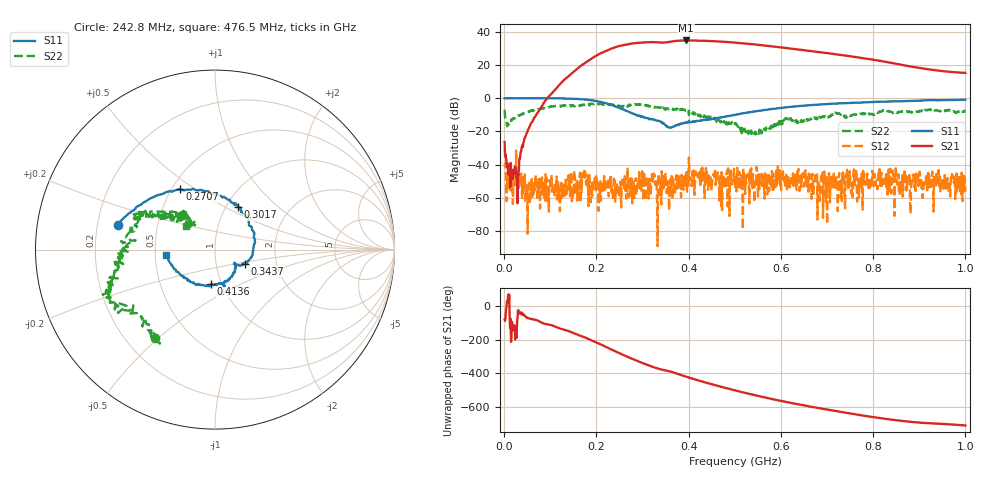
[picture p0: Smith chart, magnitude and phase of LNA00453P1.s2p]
! Created with skrf 1.9.0 (http://scikit-rf.org).
# Hz S RI R 50.0
!freq ReS11 ImS11 ReS21 ImS21 ReS12 ImS12 ReS22 ImS22
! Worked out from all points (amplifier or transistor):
!   1001 points, 1 MHz to 1 GHz, reference 50 ohm
!   highest |S21| = 34.7 dB at 394.6 MHz (marker M1)
!   |S21| within 3 dB of that: 255.7 MHz to 565.1 MHz (309.4 MHz wide, 75.4 % of centre)
!   unconditionally stable (mu >= 1): 201.1 MHz to 267.7 MHz; 299.8 MHz to 400.1 MHz; 401 MHz to end of sweep (the widest 3 of 33)
!   at 166.8 MHz: K = 1.00, MSG = 32.4 dB, |S12| = -45.3 dB
!   at 500.5 MHz: K = 2.08, MAG = 34.0 dB, |S12| = -46.3 dB
!   at 1 GHz: K = 8.95, MAG = 23.2 dB, |S12| = -56.1 dB
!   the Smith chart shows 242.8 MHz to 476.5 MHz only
!   S11 on the Smith chart (normalised r, x): 242.8 MHz: 0.29, +0.11; 270.7 MHz: 0.55, +0.44; 301.7 MHz: 1.14, +0.58; 343.7 MHz: 1.38, -0.22; 413.6 MHz: 0.89, -0.36; 476.5 MHz: 0.57, -0.03
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1000000  0.9968 0.0204  0.0102 -0.0474  -0.000694 0.00879  0.3181 0.3196
1.08892e8  0.5289 -0.844  -0.8139 -1.491  0.00109 0.000614  0.4357 -0.3689
1.67833e8  -0.22 -0.9026  -9.75 -0.5048  0.00136 -0.000466  0.0508 -0.6256
2.09791e8  -0.6629 -0.3934  -15.29 16.65  -0.000351 0.000769  -0.1897 -0.6499
2.42758e8  -0.5413 0.1374  0.2051 34.51  -0.00182 -0.00131  -0.3335 -0.4935
2.7073e8  -0.1942 0.3367  24.27 34.68  0.00244 0.00208  -0.5408 -0.3521
3.01699e8  0.128 0.2376  44.49 16.25  -0.000497 0.000685  -0.5869 -0.1794
3.34666e8  0.2044 -0.0401  46.67 -10.02  0.00421 0.00321  -0.5181 -0.0487
3.43657e8  0.1659 -0.0779  44.63 -14.91  -0.00484 0.00215  -0.4931 0.0184
3.68632e8  0.1157 -0.0851  42.54 -30.38  -0.00161 0.00145  -0.4408 0.1552
3.94606e8  0.0663 -0.1763  27.66 -46.93  0.00272 0.00524  -0.3985 0.2182
4.13587e8  -0.0214 -0.1929  13.22 -52.28  0.00262 0.000337  -0.3025 0.171
4.43557e8  -0.1631 -0.1579  -8.683 -51.6  0.00474 0.000601  -0.196 0.2049
4.76524e8  -0.2732 -0.0279  -28.02 -40.82  -0.000975 0.00437  -0.1593 0.1315
5.005e8  -0.2953 0.1004  -36.84 -29.41  -0.00328 -0.00355  -0.1369 0.1182
5.39461e8  -0.2435 0.3089  -40.89 -9.141  0.005 -0.00165  -0.0867 0.0191
5.85415e8  -0.0681 0.4793  -34.54 9.832  0.0005 -0.00402  -0.1527 -0.0574
6.25375e8  0.1181 0.5451  -23.92 18.85  0.00355 -0.00199  -0.2036 -0.0823
6.67333e8  0.3164 0.5358  -12.81 22.31  -0.00201 -0.0043  -0.2475 -0.0319
7.53247e8  0.617 0.3818  3.333 17.66  -0.00117 -0.000641  -0.2988 0.0539
8.34166e8  0.7795 0.1568  8.275 8.545  -0.00328 -0.0025  -0.3981 0.097
1e9  0.8193 -0.3739  5.738 0.9101  -0.00149 -0.000459  -0.1252 0.3797
